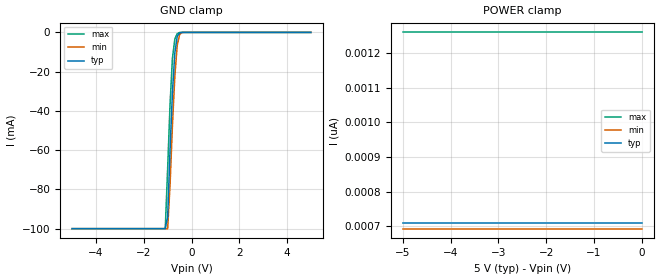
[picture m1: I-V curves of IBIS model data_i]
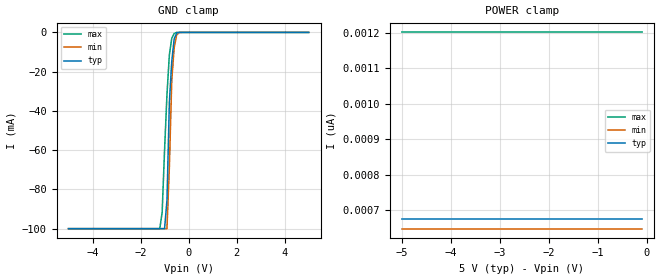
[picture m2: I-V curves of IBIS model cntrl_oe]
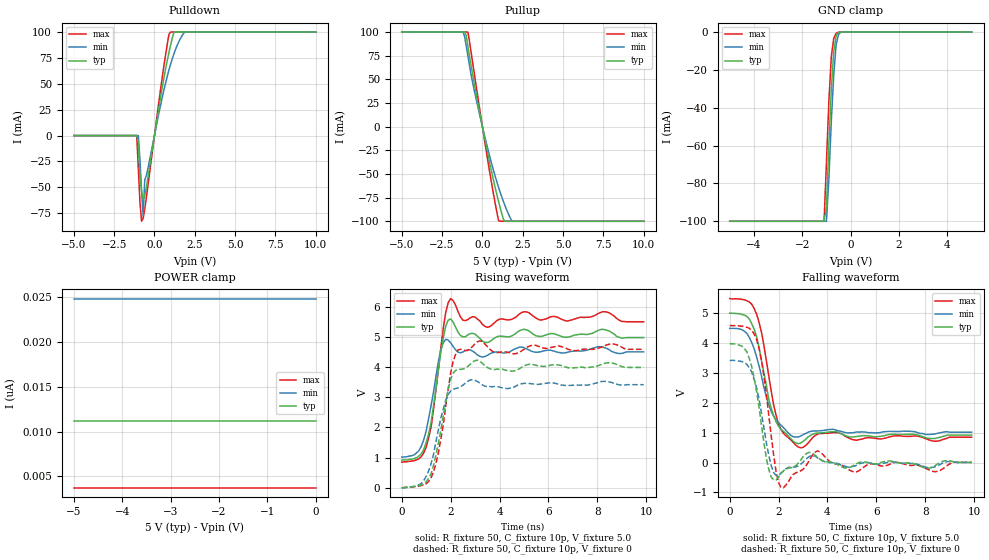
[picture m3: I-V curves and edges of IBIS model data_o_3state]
|   ON Semiconductor Corporation
|   IBIS Model of NL17SZ126DF
|   Non-inverting 3-state Buffer
|   SC-88A/ SOT-353/ SC-70 (DF) Package Type
[IBIS Ver]   3.2
[Comment Char]   |_char
[File name]   nl17sz126df_450.ibs
[File Rev]   1.0
[Date]   02/03/03
[Source]
From lab measurements at ON Semiconductor
[Notes]
Created by Duane Mattheisen
Modeling Support Engineer
| This model represents the NL17SZ126DF where 4.50 <= Vcc =< 5.50
[Disclaimer]
ON Semiconductor Corporation hereby grants
the user of this IBIS model a license to use this IBIS
model under the following terms. This license in non-exclusive
and non-transferable. Before using this IBIS model. After reading
the terms and conditions of this license, the user either must accept
these terms, or the IBIS model should be returned to ON within 30 days.
     The user is hereby granted a license to use the
IBIS model. This shall not be construed as a right to sell, or otherwise
profit either by leasing or renting this software.
     The user may modify the IBIS model to suit his specific applications
but rights to derivative works and such modifications shall belong to
ON Semiconductor.
     This IBIS model is provided on an "as is" basis. ON Semiconductor
makes absolutely no warranty with respect to the information contained
herein. By use of this IBIS model, the user assumes full risk as to the
quality and suitablility of the model to his particular use, and by using
this model assumes the entire risk. Under all circumstances the user shall
not hold ON Semiconductor liable in any way for the results obtained. ON
Semiconductor reserves the right to make to improve the model for reliability,
function, or design. ON Semiconductor does not convey any license under patent
rights or any other intellectual property rights, including those of third
parties.
ON Semiconductor is not obligated to provide maintenance or support
for the licensed IBIS model.
Cont ON at ATTN:LOGIC APPLICATIONS/IBIS MODEL.
5005 E. McDowell Road, Phoenix AZ 85008
[Copyright]
(c) 2002 ON Semiconductor Corp.
[Component]   NL17SZ126DF
Si_location Pin
Timing_location Pin
[Manufacturer]   ON Semiconductor Corp.
[Package]
|   typ   min   max
R_pkg   0.025   0.021   0.029
L_pkg   1.529nH   1.312nH   1.906nH
C_pkg   0.156pF   0.110pF   0.240pF
[Pin] signal_name   model_name   R_pin   L_pin   C_pin
1   OE   cntrl_oe   0.021   1.511nH   0.144pF
2   INA   data_i   0.023   1.312nH   0.138pF
3   GND   GND   0.029   1.906nH   0.240pF
4   OUTY   data_o_3state   0.026   1.541nH   0.150pF
5   VCC   POWER   0.025   1.374nH   0.110pF
| Models and submodels in the file (3): data_i (Input), cntrl_oe (Input), data_o_3state (3-state)
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[Model]   data_i
Model_type Input
Vinh=3.50
Vinl=1.5
| variable   typ   min   max
C_comp   1.9pf   1.9pf   1.9pf
[Temperature Range] 25   85   -40
[Voltage Range]  5.0   4.5   5.5
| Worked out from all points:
|   GND clamp passes 1 mA (typ) near -0.54 V on its own axis
[GND Clamp]
-5V       -100mA     -100mA     -100mA
-1.1V     -100mA     -100mA     -100mA
-1V       -94.01mA   -100mA     -69.4mA
-900mV    -59.92mA   -77.87mA   -36.67mA
-800mV    -30.66mA   -47.34mA   -13.26mA
-700mV    -10.43mA   -22.4mA    -3.399mA
-600mV    -2.117mA   -6.627mA   -643.1uA
-500mV    -257.6uA   -1.132mA   -30.94uA
-400mV    -12.07uA   -94.52uA   -437nA
5V        -81.53pA   127.5pA    99.44pA
[POWER Clamp]
-5V       709.2pA    692.6pA    1.261nA
-4.9V     709.2pA    692.6pA    1.261nA
-4.8V     709.2pA    692.6pA    1.261nA
0V        709.2pA    692.6pA    1.261nA
[Model]   cntrl_oe
Model_type Input
Vinh=3.50
Vinl=1.50
| variable   typ   min   max
C_comp   1.9pf   1.9pf   1.9pf
[Temperature Range] 25   85   -40
[Voltage Range] 5.0   4.5   5.5
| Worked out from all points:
|   GND clamp passes 1 mA (typ) near -0.52 V on its own axis
[GND Clamp]
-5V       -100mA     -100mA     -100mA
-1.2V     -100mA     -100mA     -100mA
-1.1V     -100mA     -100mA     -91.6mA
-1V       -100mA     -100mA     -59.92mA
-900mV    -85.55mA   -100mA     -31.64mA
-800mV    -35.59mA   -68.63mA   -11.39mA
-700mV    -14.71mA   -24.21mA   -3.004mA
-600mV    -3.294mA   -7.892mA   -550.5uA
-500mV    -424.6uA   -1.455mA   -23.29uA
-400mV    -24.27uA   -131.3uA   -301.9nA
5V        55.88pA    111.5pA    141.2pA
[POWER Clamp]
-5V       676.8pA    648.4pA    1.201nA
-4.9V     676.8pA    648.4pA    1.201nA
-4.8V     676.8pA    648.4pA    1.201nA
-100mV    676.8pA    648.4pA    1.201nA
[Model]   data_o_3state
Model_type 3-state
Enable Active-High
Polarity Non-Inverting
Vref=0
Vmeas=1.50
Rref=500
Cref=50p
| variable   typ   min   max
C_comp   4.1pf   3.075pf   5.125pf
[Temperature Range] 25   85   -40
[Voltage Range]  5.0   4.5   5.5
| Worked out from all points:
|   slope of the pulldown table from 0 to 0.75 V, typ, clamps not added: 10.9 ohm
|   slope of the pullup table from 0 to 0.75 V, typ, clamps not added: 12.2 ohm
|   GND clamp passes 1 mA (typ) near -0.54 V on its own axis
|   falling waveform, R_fixture 50, C_fixture 10p, V_fixture 5.0: 20-80 % time 624ps typ, 694ps min, 601ps max; typ from 5.01 V to 0.921 V
|   falling waveform, R_fixture 50, C_fixture 10p, V_fixture 0: 20-80 % time 469ps typ, 477ps min, 454ps max; typ from 3.99 V to 0.004 V
|   rising waveform, R_fixture 50, C_fixture 10p, V_fixture 5.0: 20-80 % time 458ps typ, 482ps min, 456ps max; typ from 0.919 V to 4.98 V
|   rising waveform, R_fixture 50, C_fixture 10p, V_fixture 0: 20-80 % time 571ps typ, 592ps min, 545ps max; typ from 0.002 V to 3.99 V
[Pullup]
-5V       99.99mA    99.99mA    99.99mA
-1.2V     99.99mA    99.99mA    99.99mA
-1.1V     99.99mA    95.06mA    99.99mA
-1V       96.12mA    85.01mA    99.99mA
-900mV    84.72mA    74.82mA    99.99mA
-600mV    54.82mA    46.09mA    67.13mA
0V        40.19uA    -32.21uA   27.32uA
500mV     -42.18mA   -34.48mA   -52.85mA
1V        -78.95mA   -63.99mA   -99.33mA
1.3V      -97.74mA   -78.96mA   -100mA
1.9V      -99.99mA   -99.99mA   -100mA
10V       -99.99mA   -99.99mA   -100mA
[Pulldown]
-5V       9.999uA    12uA       8.002uA
-1.1V     9.999uA    12uA       8.002uA
-1V       -7.631mA   12uA       -31.44mA
-900mV    -41.12mA   -22.86mA   -63.95mA
-800mV    -53.4mA    -52.93mA   -82.79mA
-700mV    -60.74mA   -77.57mA   -79.93mA
-600mV    -58.17mA   -42.68mA   -70.89mA
600mV     56.69mA    44.85mA    68.72mA
1V        87.23mA    68.9mA     99.99mA
1.2V      99.61mA    78.66mA    99.99mA
1.9V      99.99mA    99.99mA    99.99mA
10V       99.99mA    99.99mA    99.99mA
[GND Clamp]
-5V       -100mA     -100mA     -100mA
-1.1V     -100mA     -100mA     -100mA
-1V       -92.37mA   -100mA     -68.55mA
-900mV    -58.87mA   -77.13mA   -36.05mA
-800mV    -30.12mA   -47.06mA   -12.96mA
-700mV    -10.26mA   -22.42mA   -3.341mA
-600mV    -2.086mA   -6.712mA   -627.6uA
-500mV    -253.4uA   -1.157mA   -29.36uA
-400mV    -11.8uA    -101.1uA   -405.7nA
5V        33.31pA    118.9pA    96.23pA
[POWER Clamp]
-5V       11.14nA    24.86nA    3.711nA
-4.9V     11.14nA    24.86nA    3.711nA
-4.8V     11.14nA    24.86nA    3.711nA
0V        11.14nA    24.86nA    3.711nA
[Ramp]
dV/dt_r   2.310E+0/0.572E-9   2.000E+0/0.594E-9   2.640E+0/0.549E-9
dV/dt_f   2.400E+0/0.630E-9   2.080E+0/0.719E-9   2.710E+0/0.596E-9
[Falling Waveform]
R_fixture=50
C_fixture=10p
V_fixture=5.0
V_fixture_min=4.50
V_fixture_max=5.50
|Time   Typ   Min   Max
|SECONDS   VOLTS   VOLTS   VOLTS
0s        5.008V     4.501V     5.499V
600ps     4.948V     4.404V     5.459V
1ns       4.474V     3.815V     5.165V
1.3ns     3.424V     2.908V     4.37V
1.6ns     2.109V     1.933V     2.901V
2ns       1.217V     1.331V     1.272V
2.8ns     632.1mV    854.5mV    521.7mV
4.3ns     1.033V     1.103V     1.01V
5.2ns     874.4mV    1.026V     748.4mV
9.9ns     920.8mV    1.018V     850mV
[Falling Waveform]
R_fixture=50
C_fixture=10p
V_fixture=0
|Time   Typ   Min   Max
|SECONDS   VOLTS   VOLTS   VOLTS
0s        3.987V     3.42V      4.592V
700ps     3.717V     3.296V     4.54V
1.1ns     2.382V     2.501V     4.127V
1.3ns     1.252V     1.634V     3.424V
1.6ns     -228.6mV   238.4mV    1.579V
1.9ns     -587.5mV   -434.7mV   -324.3mV
2.1ns     -371.5mV   -354.8mV   -842.5mV
3.6ns     166.2mV    154mV      393.5mV
5.1ns     -82.47mV   -120.7mV   -325mV
9.9ns     3.565mV    50.65uV    6.857mV
[Rising Waveform]
R_fixture=50
C_fixture=10p
V_fixture=5.0
V_fixture_min=4.50
V_fixture_max=5.50
|Time   Typ   Min   Max
|SECONDS   VOLTS   VOLTS   VOLTS
0s        918.8mV    1.02V      850.5mV
700ps     1.049V     1.234V     959.5mV
1ns       1.501V     1.893V     1.35V
1.2ns     2.157V     2.723V     2.009V
1.6ns     4.493V     4.598V     4.643V
2ns       5.595V     4.805V     6.27V
2.5ns     5.006V     4.501V     5.557V
3.5ns     4.814V     4.388V     5.321V
5ns       5.252V     4.644V     5.835V
9.9ns     4.98V      4.505V     5.503V
[Rising Waveform]
R_fixture=50
C_fixture=10p
V_fixture=0
|Time   Typ   Min   Max
|SECONDS   VOLTS   VOLTS   VOLTS
0s        1.908mV    931.1uV    2.399mV
800ps     94.24mV    143.5mV    78.65mV
1.3ns     742.7mV    1.11V      522.8mV
1.8ns     2.82V      2.912V     2.72V
2.1ns     3.796V     3.262V     4.188V
2.3ns     3.929V     3.309V     4.57V
3.2ns     4.193V     3.464V     4.869V
4.6ns     3.873V     3.341V     4.438V
5.4ns     4.08V      3.442V     4.724V
9.9ns     3.989V     3.418V     4.589V
